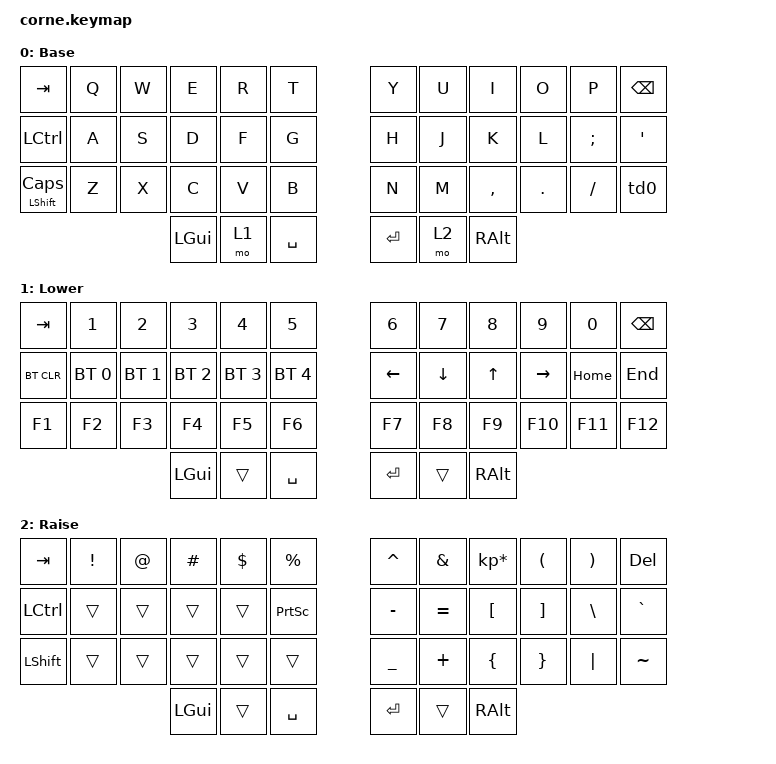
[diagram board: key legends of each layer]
/*
 * Copyright (c) 2020 The ZMK Contributors
 *
 * SPDX-License-Identifier: MIT
 */

#include <behaviors.dtsi>
#include <dt-bindings/zmk/keys.h>
#include <dt-bindings/zmk/bt.h>

/ {
        td0: tap_dance_0 {
            compatible = "zmk,behavior-tap-dance";
            label = "TAP_DANCE_0";
            #binding-cells = <0>;
            tapping-term-ms = <200>;
            bindings = <&kp RSHIFT>, <&kp ESC>;
        };

        keymap {
                compatible = "zmk,keymap";

                default_layer {
// --------------------------------------------------------------------------------
// |  TAB |  Q  |  W  |  E  |  R  |  T  |   |  Y  |  U   |  I  |  O  |  P  | BKSP |
// | CTRL |  A  |  S  |  D  |  F  |  G  |   |  H  |  J   |  K  |  L  |  ;  |  '   |
// | SHFT |  Z  |  X  |  C  |  V  |  B  |   |  N  |  M   |  ,  |  .  |  /  | ESC  |
//                    | GUI | LWR | SPC |   | ENT | RSE  | ALT |
// --------------------------------------------------------------------------------
                        label = "Base";
                        bindings = <
   &kp TAB         &kp Q &kp W &kp E &kp R &kp T   &kp Y &kp U  &kp I     &kp O   &kp P    &kp BSPC
   &kp LCTRL       &kp A &kp S &kp D &kp F &kp G   &kp H &kp J  &kp K     &kp L   &kp SEMI &kp SQT
   &mt LSHIFT CAPSLOCK &kp Z &kp X &kp C &kp V &kp B   &kp N &kp M  &kp COMMA &kp DOT &kp FSLH &td0
                   &kp LGUI &mo 1 &kp SPACE   &kp RET &mo 2 &kp RALT
                        >;
                };
                lower_layer {
// -------------------------------------------------------------------------------
// |  TAB |  1  |  2  |  3  |  4  |  5  |   |  6  |  7  |  8  |  9  |  0  | BSPC  |
// | BTCLR| BT1 | BT2 | BT3 | BT4 | BT5 |   | LFT | DWN |  UP | RGT | HOME|  END  |
// | F1   |  F2 |  F3 |  F4 |  F5 |  F6 |   |  F7 |  F8 | F9  | F10 | F11 |  F12  |
//                    | GUI |     | SPC |   | ENT |     | ALT |
// -------------------------------------------------------------------------------
                        label = "Lower";
                        bindings = <
   &kp TAB    &kp N1       &kp N2       &kp N3       &kp N4       &kp N5         &kp N6   &kp N7   &kp N8 &kp N9    &kp N0 &kp BSPC
   &bt BT_CLR &bt BT_SEL 0 &bt BT_SEL 1 &bt BT_SEL 2 &bt BT_SEL 3 &bt BT_SEL 4   &kp LEFT &kp DOWN &kp UP &kp RIGHT &kp HOME &kp END
   &kp F1     &kp F2       &kp F3       &kp F4       &kp F5       &kp F6         &kp F7   &kp F8   &kp F9 &kp F10   &kp F11 &kp F12
                          	        &kp LGUI     &trans       &kp SPACE      &kp RET  &trans   &kp RALT
                        >;
                };

                raise_layer {
// -------------------------------------------------------------------------------
// |  TAB |  !  |  @  |  #  |  $  |  %  |   |  ^  |  &  |  *  |  (  |  )  | DEL  |
// | CTRL |     |     |     |     |PSCRN|   |  -  |  =  |  [  |  ]  |  \  |  `   |
// | SHFT |     |     |     |     |     |   |  _  |  +  |  {  |  }  | "|" |  ~   |
//                    | GUI |     | SPC |   | ENT |     | ALT |
// -------------------------------------------------------------------------------
                        label = "Raise";
                        bindings = <
   &kp  TAB  &kp EXCL &kp AT &kp HASH &kp DLLR &kp PRCNT   &kp CARET &kp AMPS  &kp KP_MULTIPLY &kp LPAR &kp RPAR &kp DEL
   &kp LCTRL &trans   &trans &trans   &trans   &kp PSCRN   &kp MINUS &kp EQUAL &kp LBKT        &kp RBKT &kp BSLH &kp GRAVE
   &kp LSHFT &trans   &trans &trans   &trans   &trans      &kp UNDER &kp PLUS  &kp LBRC        &kp RBRC &kp PIPE &kp TILDE
                    	     &kp LGUI &trans   &kp SPACE   &kp RET   &trans    &kp RALT
                        >;
                };
        };
};
